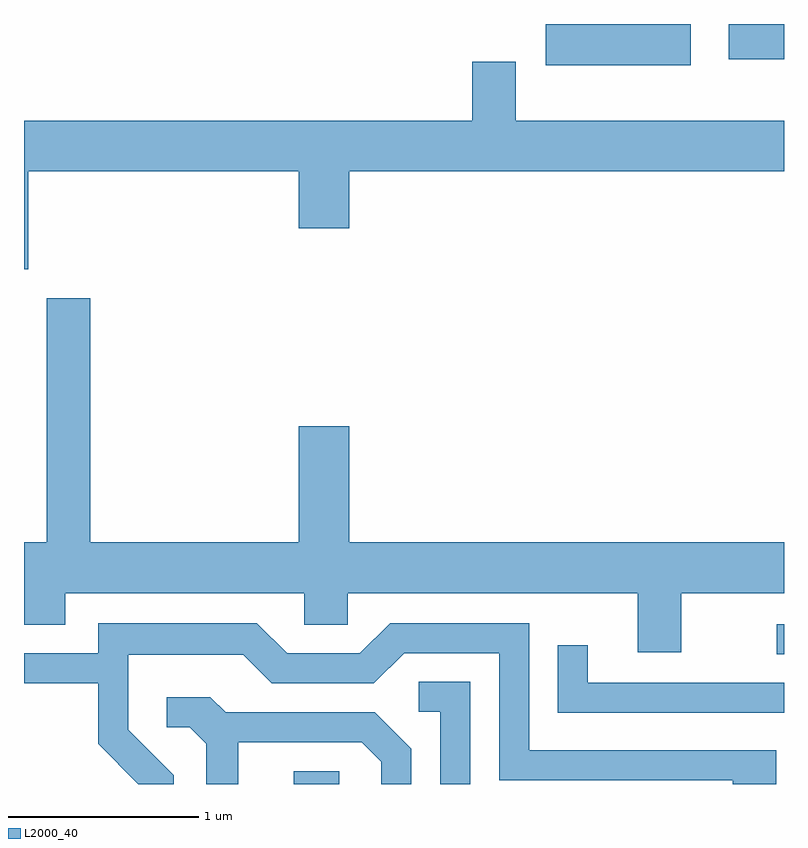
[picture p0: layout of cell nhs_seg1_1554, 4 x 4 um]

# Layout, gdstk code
import gdstk
lib = gdstk.Library(unit=1e-6, precision=1e-09)
def R(c, l, rs):  # rectangles x0, y0, x1, y1
    for r in rs: c.add(gdstk.rectangle(r[:2], r[2:], *l))
def P(c, l, *ps):  # polygons
    for p in ps: c.add(gdstk.Polygon(p, *l))
L2000_40 = (2000, 40)

nhs_seg1_1554 = lib.new_cell('nhs_seg1_1554')
R(nhs_seg1_1554, L2000_40, [(235.031,869.712,235.269,869.779), (237.573,870.396,237.611,870.554), (236.356,873.496,237.119,873.712), (237.321,873.526,237.611,873.712)])
P(nhs_seg1_1554, L2000_40, [(233.634,872.936),(235.056,872.936),(235.056,872.636),(235.324,872.636),(235.324,872.936),(237.611,872.936),(237.611,873.204),(236.199,873.204),(236.199,873.514),(235.971,873.514),(235.971,873.204),(233.611,873.204),(233.611,872.421),(233.634,872.421)],
  [(237.069,870.716),(237.611,870.716),(237.611,870.984),(235.324,870.984),(235.324,871.594),(235.056,871.594),(235.056,870.984),(233.959,870.984),(233.959,872.269),(233.731,872.269),(233.731,870.984),(233.611,870.984),(233.611,870.551),(233.829,870.551),(233.829,870.716),(235.086,870.716),(235.086,870.551),(235.314,870.551),(235.314,870.716),(236.841,870.716),(236.841,870.406),(237.069,870.406)],
  [(234.399,869.757),(234.159,869.997),(234.159,870.391),(234.764,870.391),(234.914,870.241),(235.452,870.241),(235.612,870.401),(236.111,870.401),(236.111,869.731),(237.341,869.731),(237.341,869.712),(237.569,869.712),(237.569,869.889),(236.269,869.889),(236.269,870.559),(235.539,870.559),(235.379,870.399),(234.997,870.399),(234.837,870.559),(234.001,870.559),(234.001,870.399),(233.611,870.399),(233.611,870.241),(234.001,870.241),(234.001,869.924),(234.213,869.712),(234.399,869.712)],
  [(237.611,870.244),(236.579,870.244),(236.579,870.443),(236.421,870.443),(236.421,870.086),(237.611,870.086)],
  [(235.959,870.249),(235.688,870.249),(235.688,870.091),(235.801,870.091),(235.801,869.712),(235.959,869.712)],
  [(234.739,869.931),(235.389,869.931),(235.491,869.829),(235.491,869.712),(235.649,869.712),(235.649,869.897),(235.457,870.089),(234.672,870.089),(234.592,870.169),(234.363,870.169),(234.363,870.011),(234.484,870.011),(234.571,869.924),(234.571,869.712),(234.739,869.712)])

lib.write_gds('nhs_seg1_1554.gds')
